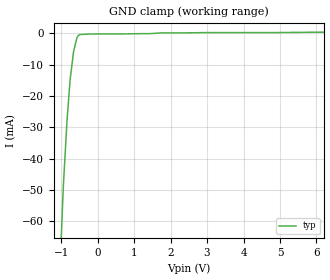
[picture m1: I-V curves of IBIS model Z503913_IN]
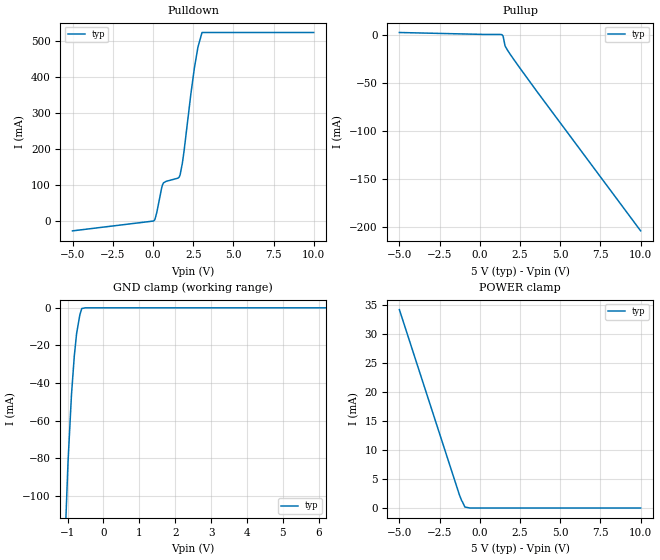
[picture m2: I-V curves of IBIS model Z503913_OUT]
| YOU ARE ONLY AUTHORIZED TO USE THIS SOFTWARE
| ACCORDING TO LICENSOR'S LICENSE RESTRICTIONS.
[IBIS Ver] 3.1
[File Name] mc54f164j.ibs
[File Rev] 2.0
[Source] Measured and created by ICX Technology
[Date] Friday 7/14/00 9:08:02 AM
[Copyright]
| (C) COPYRIGHT 1993-2000
| MENTOR GRAPHICS CORPORATION
| ICX STANDARD LIBRARY, ICX PROJECT MODELING,
| ICX CUSTOM MODELING, ICX VENDOR MODEL
| ALL RIGHTS RESERVED.
| THE FOLLOWING ARE TRADEMARKS OR SERVICE MARKS OF
| MENTOR GRAPHICS CORPORATION:ICX (R), ICX STANDARD
| LIBRARY(R), ICX PROJECT MODELING(R), ICX CUSTOM
| MODELING(R), qualityIBIS(TM), MODELVIEWER(TM),
| AND MODELEDITOR(TM)
| ALL COPIES OF SOFTWARE, INCLUDING BUT NOT LIMITED TO
| ANY MODIFICATIONS, ENHANCEMENTS OR DERIVATIVE WORKS,
| MUST CONTAIN ALL MENTOR GRAPHICS CORPORATION'S
| NOTICES AND LEGENDS, INCLUDING THOSE EMBEDDED IN
| SOFTWARE AND THOSE AFFIXED TO SOFTWARE MEDIUM
| AND CONTAINER, AS RECEIVED FROM MENTOR GRAPHICS
| CORPORATION.
|  ZAP Model Builder 2.7
[Component] MC54F164J
[Manufacturer] OnSemiconductor
[Package]
| variable   typ   min   max
R_pkg  .21ohms NA NA
L_pkg  4.543nH NA NA
C_pkg  1.8pF NA NA
[Pin] signal_name  model_name  R_pin  L_pin C_pin
1 A Z503913_IN .22 6.757n 2.434p
2 B Z503913_IN .212 4.757n 1.941p
3 QA Z503913_OUT .204 3.257n 1.448p
4 QB Z503913_OUT .196 2.257n .955p
5 QC Z503913_OUT .204 3.257n 1.448p
6 QD Z503913_OUT .212 4.757n 1.941p
7 GROUND GND .22 6.757n 2.434p
8 CLK Z503913_IN .22 6.757n 2.434p
9 _CLR Z503913_IN .212 4.757n 1.941p
10 QE Z503913_OUT .204 3.257n 1.448p
11 QF Z503913_OUT .196 2.257n .955p
12 QG Z503913_OUT .204 3.257n 1.448p
13 QH Z503913_OUT .212 4.757n 1.941p
14 VCC POWER .22 6.757n 2.434p
| Models and submodels in the file (2): Z503913_IN (Input), Z503913_OUT (Output)
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| (C) COPYRIGHT 1993-2000
| MENTOR GRAPHICS CORPORATION
| ICX STANDARD LIBRARY, ICX PROJECT MODELING,
| ICX CUSTOM MODELING, ICX VENDOR MODEL
| ALL RIGHTS RESERVED.
| THE FOLLOWING ARE TRADEMARKS OR SERVICE MARKS OF
| MENTOR GRAPHICS CORPORATION:ICX (R), ICX STANDARD
| LIBRARY(R), ICX PROJECT MODELING(R), ICX CUSTOM
| MODELING(R), qualityIBIS(TM), MODELVIEWER(TM),
| AND MODELEDITOR(TM)
| ALL COPIES OF SOFTWARE, INCLUDING BUT NOT LIMITED TO
| ANY MODIFICATIONS, ENHANCEMENTS OR DERIVATIVE WORKS,
| MUST CONTAIN ALL MENTOR GRAPHICS CORPORATION'S
| NOTICES AND LEGENDS, INCLUDING THOSE EMBEDDED IN
| SOFTWARE AND THOSE AFFIXED TO SOFTWARE MEDIUM
| AND CONTAINER, AS RECEIVED FROM MENTOR GRAPHICS
| CORPORATION.
| Model Application Version 1.89 2/18/99.
[Model] Z503913_IN
Model_type Input
Vinl = 800.0mV
Vinh = 2.000V
C_comp 4.000pF NA NA
| variable typ   min   max
[Voltage Range] 5.000V NA NA
[GND Clamp Reference] 0.000V NA NA
[POWER Clamp Reference] 5.000V NA NA
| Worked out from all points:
|   GND clamp passes 1 mA (typ) near -0.54 V on its own axis
[GND Clamp]
-5V       -1.563A    NA         NA
-1.12V    -100.1mA   NA         NA
-937mV    -48.28mA   NA         NA
-837.9mV  -27.77mA   NA         NA
-754.3mV  -14.9mA    NA         NA
-660.9mV  -6.013mA   NA         NA
-569.4mV  -1.512mA   NA         NA
-531.5mV  -753.7uA   NA         NA
-487.9mV  -419.5uA   NA         NA
1.723V    127.6uA    NA         NA
10V       721.7uA    NA         NA
[POWER Clamp]
-5V       0A         NA         NA
10V       0A         NA         NA
| (C) COPYRIGHT 1993-2000
| MENTOR GRAPHICS CORPORATION
| ICX STANDARD LIBRARY, ICX PROJECT MODELING,
| ICX CUSTOM MODELING, ICX VENDOR MODEL
| ALL RIGHTS RESERVED.
| THE FOLLOWING ARE TRADEMARKS OR SERVICE MARKS OF
| MENTOR GRAPHICS CORPORATION:ICX (R), ICX STANDARD
| LIBRARY(R), ICX PROJECT MODELING(R), ICX CUSTOM
| MODELING(R), qualityIBIS(TM), MODELVIEWER(TM),
| AND MODELEDITOR(TM)
| ALL COPIES OF SOFTWARE, INCLUDING BUT NOT LIMITED TO
| ANY MODIFICATIONS, ENHANCEMENTS OR DERIVATIVE WORKS,
| MUST CONTAIN ALL MENTOR GRAPHICS CORPORATION'S
| NOTICES AND LEGENDS, INCLUDING THOSE EMBEDDED IN
| SOFTWARE AND THOSE AFFIXED TO SOFTWARE MEDIUM
| AND CONTAINER, AS RECEIVED FROM MENTOR GRAPHICS
| CORPORATION.
| Model Application Version 1.89 2/18/99.
[Model] Z503913_OUT
Model_type Output
Vref=0.000V
Rref=500.0ohms
Cref=50.00pF
Vmeas=1.500V
C_comp 8.000pF NA NA
| variable typ   min   max
[Voltage Range] 5.000V NA NA
[POWER Clamp Reference] 5.000V NA NA
[Pullup Reference] 5.000V NA NA
[Pulldown Reference] 0.000V NA NA
[GND Clamp Reference] 0.000V NA NA
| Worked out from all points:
|   slope of the pulldown table from 0 to 0.75 V, typ, clamps not added: 6.88 ohm
|   slope of the pullup table from 0 to 0.75 V, typ, clamps not added: 9.7 kohm
|   GND clamp passes 1 mA (typ) near -0.62 V on its own axis
|   POWER clamp passes 1 mA (typ) near -1.07 V on its own axis
[GND Clamp]
-5V       -2.546A    NA         NA
-1.132V   -154.6mA   NA         NA
-990.3mV  -82.66mA   NA         NA
-893mV    -46.39mA   NA         NA
-814.6mV  -25.85mA   NA         NA
-750.8mV  -13.8mA    NA         NA
-658.6mV  -3.683mA   NA         NA
-605.2mV  -379.6uA   NA         NA
-504.3mV  0A         NA         NA
10V       0A         NA         NA
[Pulldown]
-5V       -28.71mA   NA         NA
127.1mV   3.522mA    NA         NA
547.1mV   91.89mA    NA         NA
654.5mV   105mA      NA         NA
1.558V    118.2mA    NA         NA
1.689V    127.1mA    NA         NA
1.934V    193.3mA    NA         NA
2.359V    352.8mA    NA         NA
2.579V    425.4mA    NA         NA
2.798V    483.2mA    NA         NA
3.052V    524.2mA    NA         NA
10V       524.2mA    NA         NA
[Pullup]
-5V       2.082mA    NA         NA
1.401V    -489.7uA   NA         NA
1.458V    -2.428mA   NA         NA
1.569V    -11.79mA   NA         NA
1.914V    -21.12mA   NA         NA
2.441V    -33.59mA   NA         NA
10V       -203.7mA   NA         NA
[POWER Clamp]
-5V       34.15mA    NA         NA
-1.27V    2.278mA    NA         NA
-1.129V   1.276mA    NA         NA
-1.071V   1.018mA    NA         NA
-929mV    175.5uA    NA         NA
-619.3mV  0A         NA         NA
10V       0A         NA         NA
[Ramp]
| variable typ min max
dV/dt_r 2.050/2.326n NA NA
dV/dt_f 2.050/1.490n NA NA
R_load = 500.0Ohms
